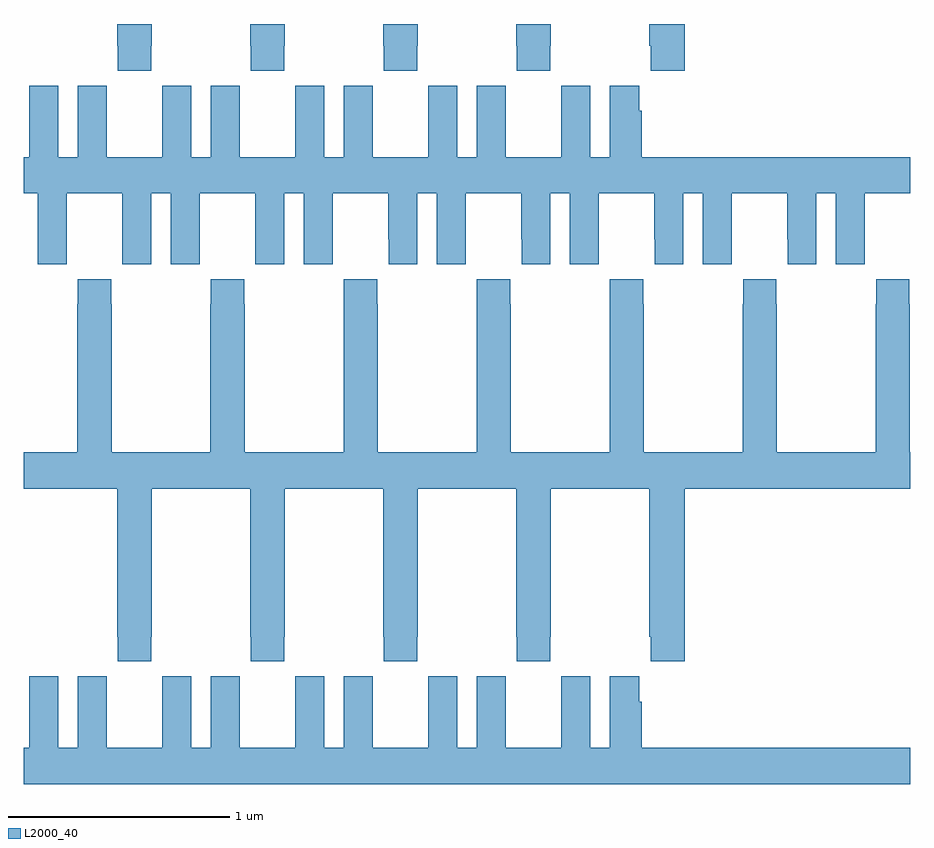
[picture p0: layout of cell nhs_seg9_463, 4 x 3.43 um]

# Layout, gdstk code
import gdstk
lib = gdstk.Library(unit=1e-6, precision=1e-09)
def P(c, l, *ps):  # polygons
    for p in ps: c.add(gdstk.Polygon(p, *l))
L2000_40 = (2000, 40)

nhs_seg9_463 = lib.new_cell('nhs_seg9_463')
P(nhs_seg9_463, L2000_40, [(135.983,1214.5),(135.823,1214.5),(135.823,1214.401),(135.829,1214.401),(135.829,1214.289),(135.983,1214.289)],
  [(134.775,1214.401),(134.778,1214.401),(134.778,1214.5),(134.623,1214.5),(134.623,1214.401),(134.625,1214.401),(134.625,1214.289),(134.775,1214.289)],
  [(134.175,1214.401),(134.178,1214.401),(134.178,1214.5),(134.023,1214.5),(134.023,1214.401),(134.025,1214.401),(134.025,1214.289),(134.175,1214.289)],
  [(133.575,1214.401),(133.578,1214.401),(133.578,1214.5),(133.423,1214.5),(133.423,1214.401),(133.425,1214.401),(133.425,1214.289),(133.575,1214.289)],
  [(135.375,1214.401),(135.378,1214.401),(135.378,1214.5),(135.223,1214.5),(135.223,1214.401),(135.225,1214.401),(135.225,1214.289),(135.375,1214.289)],
  [(133.975,1214.108),(133.974,1214.108),(133.974,1214.221),(133.844,1214.221),(133.844,1213.9),(133.756,1213.9),(133.756,1214.221),(133.626,1214.221),(133.626,1214.108),(133.625,1214.108),(133.625,1213.9),(133.375,1213.9),(133.375,1214.108),(133.374,1214.108),(133.374,1214.221),(133.244,1214.221),(133.244,1213.9),(133.156,1213.9),(133.156,1214.221),(133.026,1214.221),(133.026,1214.108),(133.025,1214.108),(133.025,1213.9),(133,1213.9),(133,1213.736),(133.064,1213.736),(133.064,1213.416),(133.194,1213.416),(133.194,1213.528),(133.195,1213.528),(133.195,1213.736),(133.445,1213.736),(133.445,1213.528),(133.446,1213.528),(133.446,1213.416),(133.576,1213.416),(133.576,1213.736),(133.664,1213.736),(133.664,1213.416),(133.794,1213.416),(133.794,1213.528),(133.795,1213.528),(133.795,1213.736),(134.045,1213.736),(134.045,1213.528),(134.046,1213.528),(134.046,1213.416),(134.176,1213.416),(134.176,1213.736),(134.264,1213.736),(134.264,1213.416),(134.394,1213.416),(134.394,1213.528),(134.395,1213.528),(134.395,1213.736),(134.645,1213.736),(134.645,1213.528),(134.646,1213.528),(134.646,1213.416),(134.776,1213.416),(134.776,1213.736),(134.864,1213.736),(134.864,1213.416),(134.994,1213.416),(134.994,1213.528),(134.995,1213.528),(134.995,1213.736),(135.245,1213.736),(135.245,1213.528),(135.246,1213.528),(135.246,1213.416),(135.376,1213.416),(135.376,1213.736),(135.464,1213.736),(135.464,1213.416),(135.594,1213.416),(135.594,1213.528),(135.595,1213.528),(135.595,1213.736),(135.845,1213.736),(135.845,1213.528),(135.846,1213.528),(135.846,1213.416),(135.976,1213.416),(135.976,1213.736),(136.064,1213.736),(136.064,1213.416),(136.194,1213.416),(136.194,1213.528),(136.195,1213.528),(136.195,1213.736),(136.445,1213.736),(136.445,1213.528),(136.446,1213.528),(136.446,1213.416),(136.576,1213.416),(136.576,1213.736),(136.664,1213.736),(136.664,1213.416),(136.794,1213.416),(136.794,1213.528),(136.795,1213.528),(136.795,1213.736),(137,1213.736),(137,1213.9),(135.788,1213.9),(135.788,1214.108),(135.778,1214.108),(135.778,1214.221),(135.644,1214.221),(135.644,1213.9),(135.556,1213.9),(135.556,1214.221),(135.426,1214.221),(135.426,1214.108),(135.425,1214.108),(135.425,1213.9),(135.175,1213.9),(135.175,1214.108),(135.174,1214.108),(135.174,1214.221),(135.044,1214.221),(135.044,1213.9),(134.956,1213.9),(134.956,1214.221),(134.826,1214.221),(134.826,1214.108),(134.825,1214.108),(134.825,1213.9),(134.575,1213.9),(134.575,1214.108),(134.574,1214.108),(134.574,1214.221),(134.444,1214.221),(134.444,1213.9),(134.356,1213.9),(134.356,1214.221),(134.226,1214.221),(134.226,1214.108),(134.225,1214.108),(134.225,1213.9),(133.975,1213.9)],
  [(135.223,1211.737),(135.225,1211.737),(135.225,1211.625),(135.375,1211.625),(135.375,1211.737),(135.378,1211.737),(135.378,1212.404),(135.823,1212.404),(135.823,1211.737),(135.829,1211.737),(135.829,1211.625),(135.983,1211.625),(135.983,1212.404),(137,1212.404),(137,1212.568),(136.998,1212.568),(136.998,1213.235),(136.995,1213.235),(136.995,1213.348),(136.845,1213.348),(136.845,1213.235),(136.843,1213.235),(136.843,1212.568),(136.398,1212.568),(136.398,1213.235),(136.395,1213.235),(136.395,1213.348),(136.245,1213.348),(136.245,1213.235),(136.243,1213.235),(136.243,1212.568),(135.798,1212.568),(135.798,1213.235),(135.795,1213.235),(135.795,1213.348),(135.645,1213.348),(135.645,1213.235),(135.643,1213.235),(135.643,1212.568),(135.198,1212.568),(135.198,1213.235),(135.195,1213.235),(135.195,1213.348),(135.045,1213.348),(135.045,1213.235),(135.043,1213.235),(135.043,1212.568),(134.598,1212.568),(134.598,1213.235),(134.595,1213.235),(134.595,1213.348),(134.445,1213.348),(134.445,1213.235),(134.443,1213.235),(134.443,1212.568),(133.998,1212.568),(133.998,1213.235),(133.995,1213.235),(133.995,1213.348),(133.845,1213.348),(133.845,1213.235),(133.843,1213.235),(133.843,1212.568),(133.398,1212.568),(133.398,1213.235),(133.395,1213.235),(133.395,1213.348),(133.245,1213.348),(133.245,1213.235),(133.243,1213.235),(133.243,1212.568),(133,1212.568),(133,1212.404),(133.423,1212.404),(133.423,1211.737),(133.425,1211.737),(133.425,1211.625),(133.575,1211.625),(133.575,1211.737),(133.578,1211.737),(133.578,1212.404),(134.023,1212.404),(134.023,1211.737),(134.025,1211.737),(134.025,1211.625),(134.175,1211.625),(134.175,1211.737),(134.178,1211.737),(134.178,1212.404),(134.623,1212.404),(134.623,1211.737),(134.625,1211.737),(134.625,1211.625),(134.775,1211.625),(134.775,1211.737),(134.778,1211.737),(134.778,1212.404),(135.223,1212.404)],
  [(137,1211.236),(135.788,1211.236),(135.788,1211.444),(135.778,1211.444),(135.778,1211.557),(135.644,1211.557),(135.644,1211.236),(135.556,1211.236),(135.556,1211.557),(135.426,1211.557),(135.426,1211.444),(135.425,1211.444),(135.425,1211.236),(135.175,1211.236),(135.175,1211.444),(135.174,1211.444),(135.174,1211.557),(135.044,1211.557),(135.044,1211.236),(134.956,1211.236),(134.956,1211.557),(134.826,1211.557),(134.826,1211.444),(134.825,1211.444),(134.825,1211.236),(134.575,1211.236),(134.575,1211.444),(134.574,1211.444),(134.574,1211.557),(134.444,1211.557),(134.444,1211.236),(134.356,1211.236),(134.356,1211.557),(134.226,1211.557),(134.226,1211.444),(134.225,1211.444),(134.225,1211.236),(133.975,1211.236),(133.975,1211.444),(133.974,1211.444),(133.974,1211.557),(133.844,1211.557),(133.844,1211.236),(133.756,1211.236),(133.756,1211.557),(133.626,1211.557),(133.626,1211.444),(133.625,1211.444),(133.625,1211.236),(133.375,1211.236),(133.375,1211.444),(133.374,1211.444),(133.374,1211.557),(133.244,1211.557),(133.244,1211.236),(133.156,1211.236),(133.156,1211.557),(133.026,1211.557),(133.026,1211.444),(133.025,1211.444),(133.025,1211.236),(133,1211.236),(133,1211.072),(137,1211.072)])

lib.write_gds('nhs_seg9_463.gds')
